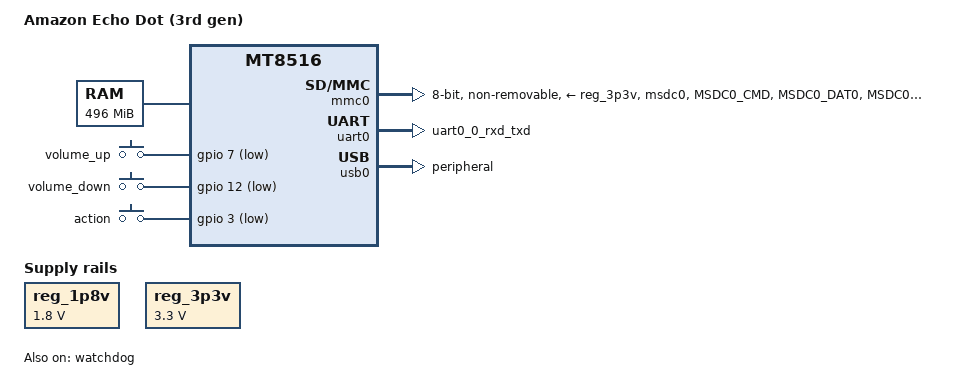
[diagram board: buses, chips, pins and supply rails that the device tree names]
// SPDX-License-Identifier: GPL-2.0 OR MIT
/*
 * Amazon Echo Dot (3rd generation), codename "donut".
 *
 * U-Boot runs here as a second stage: BootROM -> preloader -> BL31 -> Amazon
 * LK -> U-Boot (packed as the "kernel" of an Android boot image in a boot
 * slot or the swdl partition). DRAM, PLLs and the CPU rail are already set
 * up by the preloader, so this tree only describes what U-Boot itself
 * drives. Board truth mirrors the donut kernel DTS: proto-era buttons
 * (Action on GPIO3), eMMC on MSDC0, debug UART0, USB on TM4/TM5 pads.
 */

/dts-v1/;

#include <dt-bindings/gpio/gpio.h>
#include <dt-bindings/input/linux-event-codes.h>
#include "mt8516.dtsi"

/ {
	model = "Amazon Echo Dot (3rd gen)";
	/* LK appends/selects the DTB whose first compatible matches exactly;
	 * retail 2019 units (NS6529) boot the proto DTB */
	compatible = "amzn,donut-proto", "amzn,donut", "mediatek,mt8516";

	chosen {
		stdout-path = &uart0;
	};

	memory@40000000 {
		device_type = "memory";
		/*
		 * 512 MB board (the OS devicetree describes all of it, with
		 * a ramoops reservation at 0x5f000000). U-Boot's view ends
		 * below that region instead: every U-Boot allocation (the
		 * relocated monitor, the heap, load buffers) then stays under
		 * it, so the previous boot's pstore survives for Linux.
		 */
		reg = <0x40000000 0x1f000000>;
	};

	reserved-memory {
		#address-cells = <1>;
		#size-cells = <1>;
		ranges;

		/* 192 KiB reserved for ARM Trusted Firmware (BL31) */
		bl31_secmon_reserved: secmon@43000000 {
			no-map;
			reg = <0x43000000 0x30000>;
		};
	};

	reg_1p8v: regulator-1p8v {
		compatible = "regulator-fixed";
		regulator-name = "vio18";
		regulator-min-microvolt = <1800000>;
		regulator-max-microvolt = <1800000>;
		regulator-boot-on;
		regulator-always-on;
	};

	reg_3p3v: regulator-3p3v {
		compatible = "regulator-fixed";
		regulator-name = "vcc33";
		regulator-min-microvolt = <3300000>;
		regulator-max-microvolt = <3300000>;
		regulator-boot-on;
		regulator-always-on;
	};

	gpio-keys {
		compatible = "gpio-keys";

		key-volume-up {
			label = "volume_up";
			gpios = <&gpio 7 GPIO_ACTIVE_LOW>;
			linux,code = <KEY_VOLUMEUP>;
		};

		key-volume-down {
			label = "volume_down";
			gpios = <&gpio 12 GPIO_ACTIVE_LOW>;
			linux,code = <KEY_VOLUMEDOWN>;
		};

		key-action {
			label = "action";
			gpios = <&gpio 3 GPIO_ACTIVE_LOW>;
			linux,code = <KEY_HELP>;
		};
	};
};

&mmc0 {
	pinctrl-names = "default";
	pinctrl-0 = <&mmc0_pins_default>;
	bus-width = <8>;
	max-frequency = <200000000>;
	cap-mmc-highspeed;
	mmc-hs200-1_8v;
	cap-mmc-hw-reset;
	vmmc-supply = <&reg_3p3v>;
	vqmmc-supply = <&reg_1p8v>;
	non-removable;
	status = "okay";
};

&pinctrl {
	mmc0_pins_default: mmc0default {
		mux {
			function = "msdc";
			groups = "msdc0";
		};

		conf-cmd-data {
			pins = "MSDC0_CMD", "MSDC0_DAT0", "MSDC0_DAT1",
			       "MSDC0_DAT2", "MSDC0_DAT3", "MSDC0_DAT4",
			       "MSDC0_DAT5", "MSDC0_DAT6", "MSDC0_DAT7";
			input-enable;
			bias-pull-up;
		};

		conf-clk {
			pins = "MSDC0_CLK";
			bias-pull-down;
		};

		conf-rst {
			pins = "MSDC0_RSTB";
			bias-pull-up;
		};
	};

	uart0_pins: uart0 {
		mux {
			function = "uart";
			groups = "uart0_0_rxd_txd";
		};
	};
};

/* Debug console on test pads (921600 8N1); vendor bootargs use 921600n1 */
&uart0 {
	/*
	 * Used by serial_mtk when the topckgen clock lookup fails before
	 * relocation; UART0 runs from the 26 MHz crystal (same as DEBUG_UART).
	 */
	clock-frequency = <26000000>;
	pinctrl-names = "default";
	pinctrl-0 = <&uart0_pins>;
	status = "okay";
};

&watchdog {
	status = "okay";
};

/* Only USB port: the TM4/TM5 test pads. U-Boot fastboot gadget and the
 * CDC ACM console (donut has no other user-facing console port). */
&usb0 {
	status = "okay";
	dr_mode = "peripheral";
};
